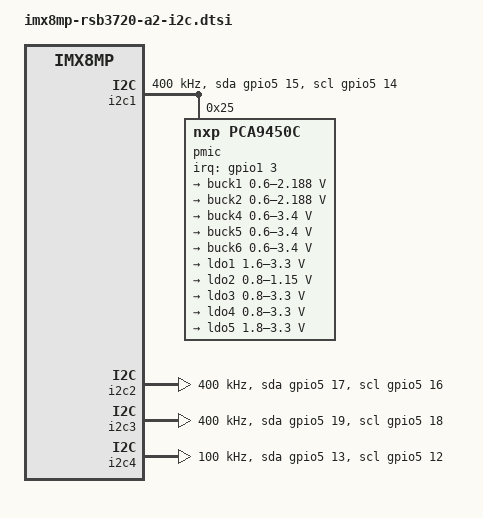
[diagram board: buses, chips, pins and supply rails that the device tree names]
&i2c1 {
	clock-frequency = <400000>;
	pinctrl-names = "default", "gpio";
	pinctrl-0 = <&pinctrl_i2c1>;
	pinctrl-1 = <&pinctrl_i2c1_gpio>;
	scl-gpios = <&gpio5 14 GPIO_ACTIVE_HIGH>;
	sda-gpios = <&gpio5 15 GPIO_ACTIVE_HIGH>;
	status = "okay";
	pmic@25 {
		compatible = "nxp,pca9450c";
		reg = <0x25>;
		pinctrl-names = "default";
		pinctrl-0 = <&pinctrl_pmic>;
		interrupt-parent = <&gpio1>;
		interrupts = <3 IRQ_TYPE_LEVEL_LOW>;
		nxp,i2c-lt-enable;

		regulators {
			buck1: BUCK1 {
				regulator-name = "BUCK1";
				regulator-min-microvolt = <600000>;
				regulator-max-microvolt = <2187500>;
				regulator-boot-on;
				regulator-always-on;
				regulator-ramp-delay = <3125>;
			};

			buck2: BUCK2 {
				regulator-name = "BUCK2";
				regulator-min-microvolt = <600000>;
				regulator-max-microvolt = <2187500>;
				regulator-boot-on;
				regulator-always-on;
				regulator-ramp-delay = <3125>;
				nxp,dvs-run-voltage = <950000>;
				nxp,dvs-standby-voltage = <850000>;
			};

			buck4: BUCK4{
				regulator-name = "BUCK4";
				regulator-min-microvolt = <600000>;
				regulator-max-microvolt = <3400000>;
				regulator-boot-on;
				regulator-always-on;
			};

			buck5: BUCK5{
				regulator-name = "BUCK5";
				regulator-min-microvolt = <600000>;
				regulator-max-microvolt = <3400000>;
				regulator-boot-on;
				regulator-always-on;
			};

			buck6: BUCK6 {
				regulator-name = "BUCK6";
				regulator-min-microvolt = <600000>;
				regulator-max-microvolt = <3400000>;
				regulator-boot-on;
				regulator-always-on;
			};

			ldo1: LDO1 {
				regulator-name = "LDO1";
				regulator-min-microvolt = <1600000>;
				regulator-max-microvolt = <3300000>;
				regulator-boot-on;
				regulator-always-on;
			};

			ldo2: LDO2 {
				regulator-name = "LDO2";
				regulator-min-microvolt = <800000>;
				regulator-max-microvolt = <1150000>;
				regulator-boot-on;
				regulator-always-on;
			};

			ldo3: LDO3 {
				regulator-name = "LDO3";
				regulator-min-microvolt = <800000>;
				regulator-max-microvolt = <3300000>;
				regulator-boot-on;
				regulator-always-on;
			};

			ldo4: LDO4 {
				regulator-name = "LDO4";
				regulator-min-microvolt = <800000>;
				regulator-max-microvolt = <3300000>;
				regulator-boot-on;
				regulator-always-on;
			};

			ldo5: LDO5 {
				regulator-name = "LDO5";
				regulator-min-microvolt = <1800000>;
				regulator-max-microvolt = <3300000>;
				regulator-boot-on;
				regulator-always-on;
			};
		};
	};
};

&i2c2 {
	clock-frequency = <400000>;
	pinctrl-names = "default", "gpio";
	pinctrl-0 = <&pinctrl_i2c2>;
	pinctrl-1 = <&pinctrl_i2c2_gpio>;
	scl-gpios = <&gpio5 16 GPIO_ACTIVE_HIGH>;
	sda-gpios = <&gpio5 17 GPIO_ACTIVE_HIGH>;
	status = "okay";
};

&i2c3 {
	clock-frequency = <400000>;
	pinctrl-names = "default", "gpio";
	pinctrl-0 = <&pinctrl_i2c3>;
	pinctrl-1 = <&pinctrl_i2c3_gpio>;
	scl-gpios = <&gpio5 18 GPIO_ACTIVE_HIGH>;
	sda-gpios = <&gpio5 19 GPIO_ACTIVE_HIGH>;
	status = "okay";
};

&i2c4 {
	clock-frequency = <100000>;
	pinctrl-names = "default", "gpio";
	pinctrl-0 = <&pinctrl_i2c4>;
	pinctrl-1 = <&pinctrl_i2c4_gpio>;
	scl-gpios = <&gpio5 12 GPIO_ACTIVE_HIGH>;
	sda-gpios = <&gpio5 13 GPIO_ACTIVE_HIGH>;
	status = "okay";
};


&iomuxc {
	pinctrl_i2c1_gpio: i2c1_gpio_grp  {
		fsl,pins = <
			MX8MP_IOMUXC_I2C1_SCL__GPIO5_IO14		0x10
			MX8MP_IOMUXC_I2C1_SDA__GPIO5_IO15		0x10
		>;
	};
	pinctrl_i2c2_gpio: i2c2_gpio_grp  {
		fsl,pins = <
			MX8MP_IOMUXC_I2C2_SCL__GPIO5_IO16		0x10
			MX8MP_IOMUXC_I2C2_SDA__GPIO5_IO17		0x10
		>;
	};
	pinctrl_i2c3_gpio: i2c3_gpio_grp  {
		fsl,pins = <
			MX8MP_IOMUXC_I2C3_SCL__GPIO5_IO18		0x10
			MX8MP_IOMUXC_I2C3_SDA__GPIO5_IO19		0x10
		>;
	};

	pinctrl_i2c4: i2c4grp {
		fsl,pins = <
			MX8MP_IOMUXC_ECSPI2_MISO__I2C4_SCL		0x400001c2
			MX8MP_IOMUXC_ECSPI2_SS0__I2C4_SDA		0x400001c2
		>;
	};

	pinctrl_i2c4_gpio: i2c4_gpio_grp  {
		fsl,pins = <
			MX8MP_IOMUXC_ECSPI2_MISO__GPIO5_IO12		0x10
			MX8MP_IOMUXC_ECSPI2_SS0__GPIO5_IO13		0x10
		>;
	};
};

